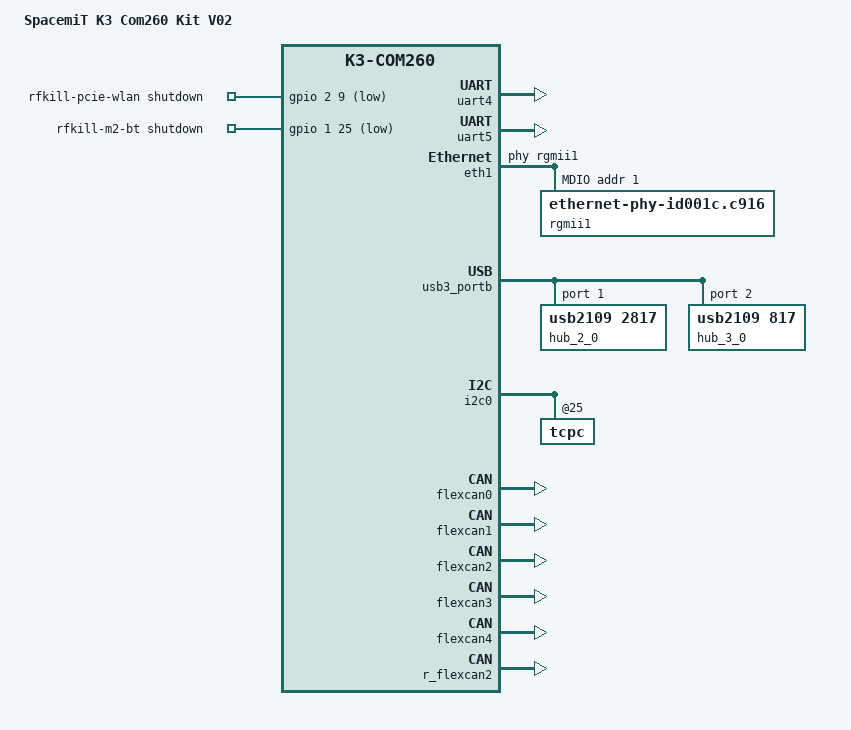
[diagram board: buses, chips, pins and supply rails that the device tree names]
// SPDX-License-Identifier: (GPL-2.0 OR MIT)
/* Copyright (c) 2025 Spacemit, Inc */

#include "k3_com260.dtsi"

/ {
	model = "SpacemiT K3 Com260 Kit V02";
	compatible = "spacemit,k3-com260-kit-v02";

	rfkill-pcie-wlan {
		compatible = "rfkill-gpio";
		label = "rfkill-pcie-wlan";
		pinctrl-names = "default";
		pinctrl-0 = <&m2_wdis1_cfg>;
		radio-type = "wlan";
		shutdown-gpios = <&gpio 2 9 GPIO_ACTIVE_LOW>;
	};

	rfkill-m2-bt {
		compatible = "rfkill-gpio";
		label = "rfkill-m2-bt";
		pinctrl-names = "default";
		pinctrl-0 = <&m2_wdis2_cfg>;
		radio-type = "bluetooth";
		shutdown-gpios = <&gpio 1 25 GPIO_ACTIVE_LOW>;
	};
};

&pinctrl {
	uart4-0-cfg {
		uart4-0-pins {
			power-source = <3300>;
		};
	};

	uart5-2-cfg {
		uart5-0-pins {
			power-source = <3300>;
		};
	};

	can3-1-cfg {
		can3-0-pins {
			power-source = <1800>;
		};
	};

	can4-1-cfg {
		can4-0-pins {
			power-source = <1800>;
		};
	};

	rcan2-0-cfg {
		rcan2-0-pins {
			power-source = <1800>;
		};
	};
};

/* Override dtsi default voltages */
&rpmi_regulator {
	edcdc2: edcdc2 {
		regulator-min-microvolt = <800000>;
		regulator-max-microvolt = <800000>;
		regulator-always-on;
		regulator-boot-on;
	};

	edcdc1: edcdc1 {
		regulator-min-microvolt = <534000>;
		regulator-max-microvolt = <1000000>;
		regulator-always-on;
		regulator-boot-on;
	};
};

&uart4 {
	pinctrl-names = "default";
	pinctrl-0 = <&uart4_0_cfg>;
	status = "okay";
};

&uart5 {
	pinctrl-names = "default";
	pinctrl-0 = <&uart5_2_cfg>;
	status = "okay";
};

&qspi {
	spacemit,qspi-tx-dma = <0>;
	spacemit,qspi-rx-dma = <0>;
};

&usb3_porta {
	/delete-property/ monitor-vbus;
};

&eth1 {
	tx-fifo-depth = <8192>;
	rx-fifo-depth = <8192>;
	snps,tso;
	snps,force_sf_dma_mode;
	phy-handle = <&rgmii1>;

	mdio {
		#address-cells = <1>;
		#size-cells = <0>;
		compatible = "snps,dwmac-mdio";

		rgmii1: phy@1 {
			compatible = "ethernet-phy-id001c.c916";
			reg = <0x1>;
			device_type = "ethernet-phy";
		};
	};
};

&usb3_portb {
	/* VL817 USB2.0 hub (4 ports) */
	hub_2_0: hub@1 {
		compatible = "usb2109,2817";
		reg = <1>;
		peer-hub = <&hub_3_0>;
		/* GPIO53(MIPI_CSI3_PWDN) reserved for HUB 3V3 RST,
		 * now reset will be done by HW */
	};

	/* VL817 USB3.0 hub (4 ports) */
	hub_3_0: hub@2 {
		compatible = "usb2109,817";
		reg = <2>;
		peer-hub = <&hub_2_0>;
		/* GPIO53(MIPI_CSI3_PWDN) reserved for HUB 3V3 RST,
		 * now reset will be done by HW */
	};
};

&i2c0 {
	tcpc@25 {
		wakeup-source;
	};
};

/* kit_v02: no camera */
&i2c5 {
	status = "disabled";
};

/* kit_v02: gpu cooling levels differ */
&thermal_zones {
	thermal_gpu {
		cooling-maps {
			map1 {
				cooling-device = <&imggpu 1 2>;
			};

			map2 {
				cooling-device = <&imggpu 2 3>;
			};
		};
	};
};

&flexcan0 {
	clock-frequency = <80000000>;
	pinctrl-names = "default";
	pinctrl-0 = <&can0_1_cfg>;
	status = "okay";
};

&flexcan1 {
	clock-frequency = <80000000>;
	pinctrl-names = "default";
	pinctrl-0 = <&can1_0_cfg>;
	status = "okay";
};

&flexcan2 {
	clock-frequency = <80000000>;
	pinctrl-names = "default";
	pinctrl-0 = <&can2_0_cfg>;
	status = "okay";
};

&flexcan3 {
	clock-frequency = <80000000>;
	pinctrl-names = "default";
	pinctrl-0 = <&can3_1_cfg>;
	status = "okay";
};

&flexcan4 {
	clock-frequency = <80000000>;
	pinctrl-names = "default";
	pinctrl-0 = <&can4_1_cfg>;
	status = "okay";
};

&r_flexcan2 {
	clock-frequency = <80000000>;
	pinctrl-names = "default";
	pinctrl-0 = <&rcan2_0_cfg>;
	status = "okay";
};
